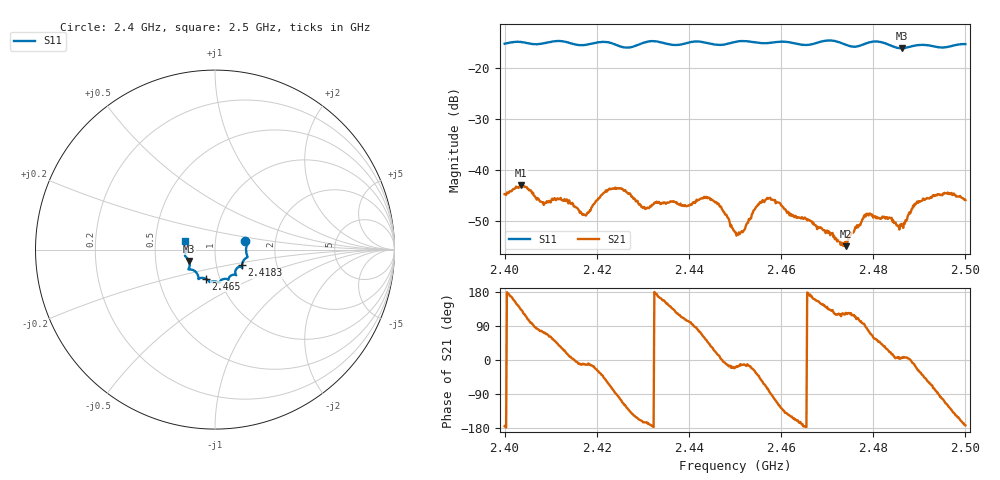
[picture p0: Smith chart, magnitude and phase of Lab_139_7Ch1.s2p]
# Hz S RI R 50
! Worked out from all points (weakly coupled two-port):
!   601 points, 2.4 GHz to 2.5 GHz, reference 50 ohm
!   highest |S21| = -43.00 dB at 2.4035 GHz (marker M1); lowest = -54.9 dB at 2.474 GHz (marker M2)
!   lowest |S11| = -16.0 dB at 2.4862 GHz (marker M3), VSWR 1.38, Z = 37.1 - j4.82 ohm
!   |S11| at or under -10 dB: start of sweep to end of sweep
!   S12 and S22 are empty: the file has one direction only
!   S11 on the Smith chart (normalised r, x): 2.4 GHz: 1.40, +0.13; 2.4183 GHz: 1.33, -0.24; 2.465 GHz: 0.86, -0.29; 2.5 GHz: 0.71, +0.07
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2.4e9  0.1689 0.0459  -0.00578 -0.000566  0 0  0 0
2.4035e9  0.1798 0.0302  -0.00484 0.00517  0 0  0 0
2.408167e9  0.1747 -0.0181  0.00126 0.00467  0 0  0 0
2.4135e9  0.1758 -0.0455  0.00494 0.0015  0 0  0 0
2.416667e9  0.155 -0.0683  0.0037 -0.000828  0 0  0 0
2.418333e9  0.1499 -0.0868  0.00379 -0.00079  0 0  0 0
2.4235e9  0.1462 -0.0971  0.00138 -0.00648  0 0  0 0
2.430167e9  0.1143 -0.138  -0.00417 -0.00121  0 0  0 0
2.433333e9  0.1168 -0.1413  -0.00465 0.00106  0 0  0 0
2.444333e9  0.0664 -0.1636  0.0039 0.00364  0 0  0 0
2.45e9  0.0253 -0.1807  0.0023 -0.000855  0 0  0 0
2.451667e9  0.0214 -0.1848  0.0024 -0.000552  0 0  0 0
2.4545e9  0.0108 -0.1799  0.00356 -0.0024  0 0  0 0
2.457167e9  -0.0114 -0.1775  0.00123 -0.00509  0 0  0 0
2.465e9  -0.0527 -0.1621  -0.00339 -0.000323  0 0  0 0
2.466667e9  -0.0713 -0.1576  -0.00307 0.00065  0 0  0 0
2.474e9  -0.0956 -0.1423  -0.00101 0.00148  0 0  0 0
2.478333e9  -0.1364 -0.1107  0.000145 0.00349  0 0  0 0
2.483333e9  -0.1421 -0.0958  0.00308 0.00139  0 0  0 0
2.486167e9  -0.1446 -0.0634  0.00295 0.000291  0 0  0 0
2.491333e9  -0.1673 -0.0316  0.00346 -0.0039  0 0  0 0
2.5e9  -0.1671 0.0472  -0.00504 -0.000656  0 0  0 0
